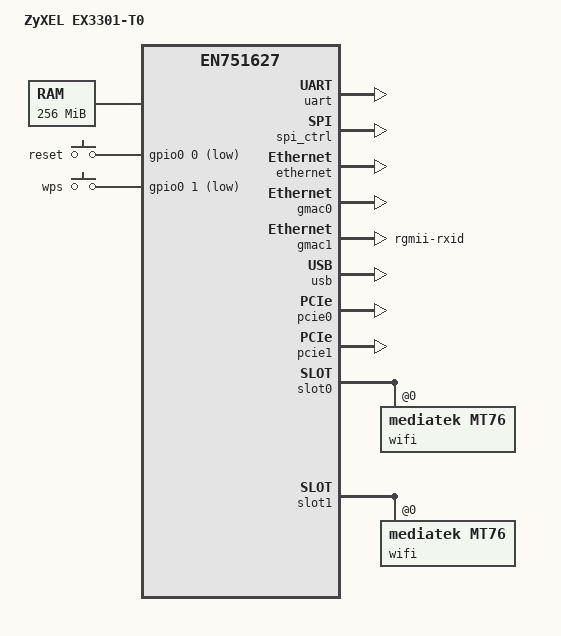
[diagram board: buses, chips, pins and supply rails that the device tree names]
// SPDX-License-Identifier: (GPL-2.0-only OR BSD-2-Clause)
/*
 * Copyright (C) 2024 Kervin Pursoty <kpursoty@proton.me>
 *
 * ZyXEL EX3301-T0: EcoNet EN751627 (MIPS 1004Kc), AX1800 WiFi 6 DSL router.
 * 256 MB RAM, 128 MB SPI NAND, MT7915+MT7916 WiFi, MT7530 switch, xHCI USB 3.0.
 */

#include "en751627.dtsi"

#include <dt-bindings/gpio/gpio.h>
#include <dt-bindings/input/input.h>

/ {
	compatible = "zyxel,ex3301-t0", "econet,en751627";
	model = "ZyXEL EX3301-T0";

	aliases {
		serial0 = &uart;
		led-boot = &led_power;
		led-failsafe = &led_power;
		led-running = &led_power;
		led-upgrade = &led_power;
	};

	chosen {
		bootargs = "console=ttyS0,115200n8";
		stdout-path = "serial0:115200n8";
	};

	memory@0 {
		device_type = "memory";
		reg = <0x00000000 0x10000000>;  /* 256 MB */
	};

	/*
	 * Front-panel LEDs via SGPIO serial shift register (CR_SGPIO_DATA 0x1fbf0224).
	 * 14-bit word, 7 dual-colour (R/G) LEDs, 2 bits each, LSB-first.
	 * Requires "econet,en751627-sgpio-leds" driver (not yet upstream).
	 */
	leds: leds {
		compatible = "econet,en751627-sgpio-leds";
		econet,sgpio-data = <&sgpio_leds>;
		status = "disabled";

		led_power: power {
			label = "green:power";
			default-state = "on";
		};

		led_sync: sync {
			label = "green:sync";
		};

		led_internet: internet {
			label = "green:internet";
		};

		led_lan: lan {
			label = "green:lan";
		};

		led_wifi24: wifi24 {
			label = "green:wifi24";
			linux,default-trigger = "phy0tpt";
		};

		led_wifi5g: wifi5g {
			label = "green:wifi5g";
			linux,default-trigger = "phy1tpt";
		};

		led_phone: phone {
			label = "green:phone";
		};
	};

	keys {
		compatible = "gpio-keys-polled";
		poll-interval = <100>;

		reset {
			label = "reset";
			gpios = <&gpio0 0 GPIO_ACTIVE_LOW>;
			linux,code = <KEY_RESTART>;
		};

		wps {
			label = "wps";
			gpios = <&gpio0 1 GPIO_ACTIVE_LOW>;
			linux,code = <KEY_WPS_BUTTON>;
		};
	};
};

&uart {
	status = "okay";
};

&spi_ctrl {
	status = "okay";
};

&nand {
	econet,bmt;
	econet,enable-remap;
	econet,can-write-factory-bbt;
	econet,assert-reserve-size = <81>; /* 8% of 1024 blocks = 81 */
	econet,bbt-table-size = <1000>;

	partitions {
		compatible = "fixed-partitions";
		#address-cells = <1>;
		#size-cells = <1>;

		partition@0 {
			label = "bootloader";
			reg = <0x00000000 0x00040000>;
			read-only;
		};

		partition@40000 {
			label = "romfile";
			reg = <0x00040000 0x00040000>;
		};

		partition@80000 {
			label = "firmware";
			reg = <0x00080000 0x02800000>;
		};

		partition@2880000 {
			label = "firmware1";
			reg = <0x02880000 0x02620000>;
		};

		partition@4ea0000 {
			label = "wwan";
			reg = <0x04ea0000 0x00100000>;
		};

		partition@4fa0000 {
			/*
			 * Stock label is "data" but kernel ubi_auto_attach()
			 * probes any MTD named "ubi" or "data" for UBI magic.
			 * Renamed to avoid benign but noisy UBI probe error.
			 */
			label = "nvdata";
			reg = <0x04fa0000 0x00400000>;
		};

		partition@53a0000 {
			label = "rom-d";
			reg = <0x053a0000 0x00100000>;
		};

		partition@54a0000 {
			/* Persistent overlay storage (UBIFS on UBI). */
			label = "rootfs_data";
			reg = <0x054a0000 0x02000000>;
		};

		factory: partition@74a0000 {
			label = "Factory";
			reg = <0x074a0000 0x00080000>;
			read-only;

			nvmem-layout {
				compatible = "fixed-layout";
				#address-cells = <1>;
				#size-cells = <1>;

				eeprom_factory_0: eeprom@0 {
					reg = <0x0 0x1000>;
				};
			};
		};

		partition@7520000 {
			label = "reservearea";
			reg = <0x07520000 0x000c0000>;
		};
	};
};

&ethernet {
	status = "okay";
};

&gmac0 {
	status = "okay";
	mac-address = [ 48 ED E6 B6 5C F0 ];
};

&gmac1 {
	status = "okay";
	phy-mode = "rgmii-rxid";
};

&usb {
	status = "okay";
};

&pcie0 {
	status = "okay";  /* 14C3:7915 — MT7915 5GHz WiFi 6 */
};

&pcie1 {
	status = "okay";  /* 14C3:7916 — MT7916 6GHz WiFi 6E */
};

&slot0 {
	wifi@0,0 {
		compatible = "mediatek,mt76";
		reg = <0x0000 0 0 0 0>;
		/* big-endian: EEPROM on this SoC is stored BE; mt76 needs MTD path for swap */
		mediatek,mtd-eeprom = <&factory 0x0>;
		big-endian;
	};
};

&slot1 {
	wifi@0,0 {
		compatible = "mediatek,mt76";
		reg = <0x0000 0 0 0 0>;
		mediatek,mtd-eeprom = <&factory 0x0>;
		big-endian;
	};
};

&switch0 {
	/*
	 * RJ45 port LEDs: MT7530 LED_CTRL register (offset 0x7d00) is
	 * accessible only via MDIO. The EN751627 MMIO bridge (FE+0x8000)
	 * does not forward LED_EN or LED_IO_MODE writes to MT7530. In MCM
	 * mode the upstream mt7530 DSA driver does not initialise LED_CTRL,
	 * so all RJ45 port LEDs remain dark. A driver patch or dedicated
	 * LED binding is required to enable them.
	 */
	ports {
		port@4 {
			reg = <4>;
			label = "wan";
			phy-mode = "gmii";

			fixed-link {
				speed = <1000>;
				full-duplex;
			};
		};

		port@5 {
			reg = <5>;
			label = "cpu";
			ethernet = <&gmac1>;
			phy-mode = "rgmii-rxid";

			fixed-link {
				speed = <1000>;
				full-duplex;
			};
		};
	};
};
